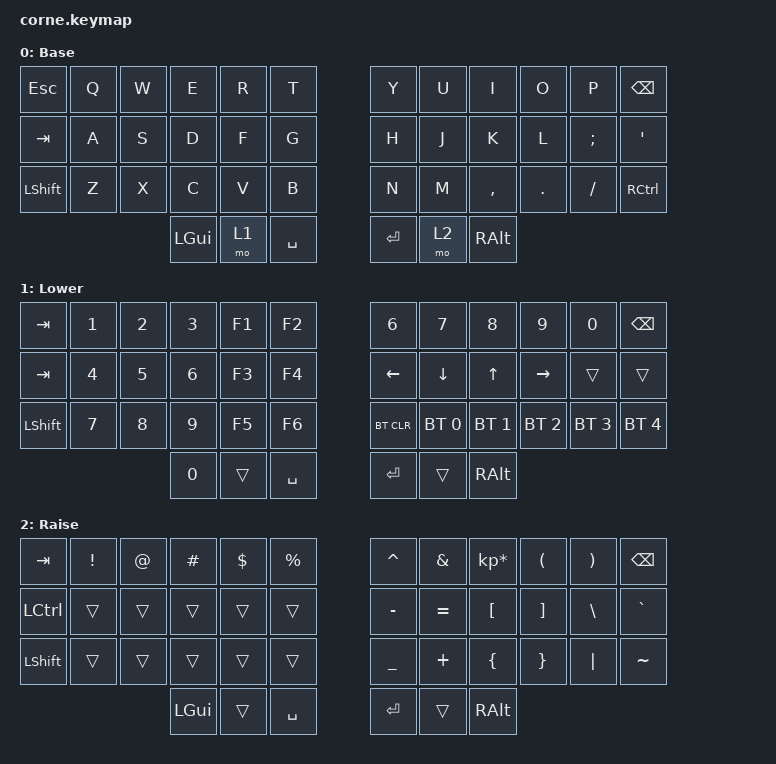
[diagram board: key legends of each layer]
/*
 * Copyright (c) 2020 The ZMK Contributors
 *
 * SPDX-License-Identifier: MIT
 */

#include <behaviors.dtsi>
#include <dt-bindings/zmk/bt.h>
#include <dt-bindings/zmk/keys.h>

/ {
    keymap {
        compatible = "zmk,keymap";

        default_layer {
            // -----------------------------------------------------------------------------------------
            // |  TAB |  Q  |  W  |  E  |  R  |  T  |   |  Y  |  U   |  I  |  O  |  P  | BKSP |
            // | CTRL |  A  |  S  |  D  |  F  |  G  |   |  H  |  J   |  K  |  L  |  ;  |  '   |
            // | SHFT |  Z  |  X  |  C  |  V  |  B  |   |  N  |  M   |  ,  |  .  |  /  | ESC  |
            //                    | GUI | LWR | SPC |   | ENT | RSE  | ALT |

            label = "Base";
            bindings = <
&kp ESC    &kp Q  &kp W  &kp E     &kp R  &kp T        &kp Y      &kp U  &kp I      &kp O    &kp P     &kp BSPC
&kp TAB    &kp A  &kp S  &kp D     &kp F  &kp G        &kp H      &kp J  &kp K      &kp L    &kp SEMI  &kp SINGLE_QUOTE
&kp LSHFT  &kp Z  &kp X  &kp C     &kp V  &kp B        &kp N      &kp M  &kp COMMA  &kp DOT  &kp FSLH  &kp RIGHT_CONTROL
                         &kp LGUI  &mo 1  &kp SPACE    &kp ENTER  &mo 2  &kp RALT
            >;
        };

        lower_layer {
            // -----------------------------------------------------------------------------------------
            // |  TAB |  1  |  2  |  3  |  4  |  5  |   |  6  |  7  |  8  |  9  |  0  | BKSP |
            // | BTCLR| BT1 | BT2 | BT3 | BT4 | BT5 |   | LFT | DWN |  UP | RGT |     |      |
            // | SHFT |     |     |     |     |     |   |     |     |     |     |     |      |
            //                    | GUI |     | SPC |   | ENT |     | ALT |

            label = "Lower";
            bindings = <
&kp TAB    &kp N1        &kp N2  &kp N3        &kp F1  &kp F2       &kp N6      &kp N7        &kp N8        &kp N9        &kp N0        &kp BSPC
&kp TAB    &kp NUMBER_4  &kp N5  &kp NUMBER_6  &kp F3  &kp F4       &kp LEFT    &kp DOWN      &kp UP        &kp RIGHT     &trans        &trans
&kp LSHFT  &kp N7        &kp N8  &kp N9        &kp F5  &kp F6       &bt BT_CLR  &bt BT_SEL 0  &bt BT_SEL 1  &bt BT_SEL 2  &bt BT_SEL 3  &bt BT_SEL 4
                                 &kp NUMBER_0  &trans  &kp SPACE    &kp RET     &trans        &kp RALT
            >;
        };

        raise_layer {
            // -----------------------------------------------------------------------------------------
            // |  TAB |  !  |  @  |  #  |  $  |  %  |   |  ^  |  &  |  *  |  (  |  )  | BKSP |
            // | CTRL |     |     |     |     |     |   |  -  |  =  |  [  |  ]  |  \  |  `   |
            // | SHFT |     |     |     |     |     |   |  _  |  +  |  {  |  }  | "|" |  ~   |
            //                    | GUI |     | SPC |   | ENT |     | ALT |

            label = "Raise";
            bindings = <
&kp TAB    &kp EXCL  &kp AT  &kp HASH  &kp DLLR  &kp PRCNT    &kp CARET  &kp AMPS   &kp KP_MULTIPLY  &kp LPAR  &kp RPAR  &kp BSPC
&kp LCTRL  &trans    &trans  &trans    &trans    &trans       &kp MINUS  &kp EQUAL  &kp LBKT         &kp RBKT  &kp BSLH  &kp GRAVE
&kp LSHFT  &trans    &trans  &trans    &trans    &trans       &kp UNDER  &kp PLUS   &kp LBRC         &kp RBRC  &kp PIPE  &kp TILDE
                             &kp LGUI  &trans    &kp SPACE    &kp RET    &trans     &kp RALT
            >;
        };
    };
};
